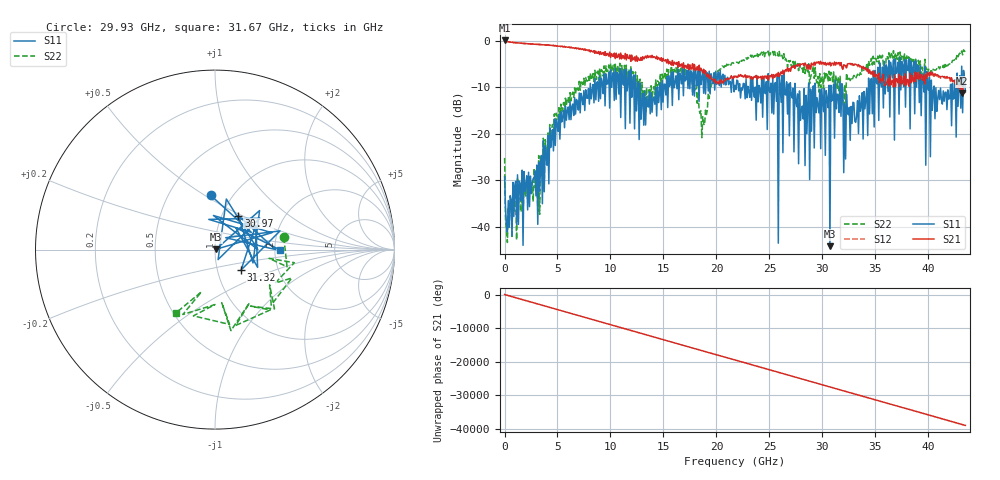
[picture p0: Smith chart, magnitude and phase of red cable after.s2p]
#  HZ  S  RI  R  50.00
! Rohde & Schwarz Vector Network Analyzer
! Rohde-Schwarz,ZNA43-2Port,1332450042101266,2.10
! Created: UTC 9/3/2021, 1:16:31 PM
! freq[Hz]  re:S11  im:S11  re:S21  im:S21  re:S12  im:S12  re:S22  im:S22
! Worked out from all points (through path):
!   501 points, 10 MHz to 43.5 GHz, reference 50 ohm
!   highest |S21| = 0.03 dB at 10 MHz (marker M1); lowest = -11.4 dB at 43.15 GHz (marker M2)
!   lowest |S11| = -44.2 dB at 30.71 GHz (marker M3), VSWR 1.01, Z = 50.6 + j0.189 ohm
!   |S11| at or under -10 dB: start of sweep to 8.084 GHz; 12.81 GHz to 14.45 GHz (1.642 GHz wide, 12.1 % of centre); 31.89 GHz to 34.35 GHz (2.463 GHz wide, 7.44 % of centre) (the widest 3 of 110)
!   |S22| runs from -43.4 to -2.0 dB; largest |S21 - S12| = 0.098
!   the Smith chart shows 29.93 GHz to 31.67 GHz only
!   S11 on the Smith chart (normalised r, x): 29.93 GHz: 0.80, +0.53; 30.97 GHz: 1.19, +0.48; 31.32 GHz: 1.30, -0.31; 31.67 GHz: 2.15, -0.01
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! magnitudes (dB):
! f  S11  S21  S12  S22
! 10 MHz  -29.3  0.0  -0.3  -25.2
! 270.9 MHz  -41.2  -0.2  -0.2  -43.4
! 3.141 GHz  -39.5  -0.8  -0.8  -36.8
! 4.881 GHz  -17.0  -1.2  -1.2  -15.6
! 7.316 GHz  -12.3  -1.8  -1.8  -9.0
! 14.54 GHz  -13.3  -3.6  -3.6  -8.9
! 17.23 GHz  -6.4  -5.9  -6.0  -6.1
! 18.8 GHz  -11.3  -6.2  -6.2  -17.9
! 19.84 GHz  -10.7  -8.3  -8.4  -7.0
! 21.75 GHz  -9.6  -7.8  -7.9  -4.8
! 29.06 GHz  -11.0  -5.2  -5.3  -6.5
! 29.93 GHz  -10.4  -5.0  -5.1  -8.2
! 30.71 GHz  -44.2  -4.7  -4.9  -8.6
! 30.97 GHz  -12.8  -4.9  -5.1  -9.0
! 31.32 GHz  -14.7  -4.7  -4.8  -8.2
! 31.67 GHz  -8.8  -5.3  -5.4  -7.7
! 32.19 GHz  -25.5  -5.4  -5.6  -15.2
! 36.28 GHz  -4.3  -9.8  -10.0  -2.6
! 38.98 GHz  -5.3  -8.1  -8.5  -4.9
! 40.37 GHz  -15.0  -6.9  -7.2  -7.2
! 43.15 GHz  -5.5  -11.4  -11.6  -2.2
! 43.5 GHz  -11.0  -10.8  -11.0  -2.2
